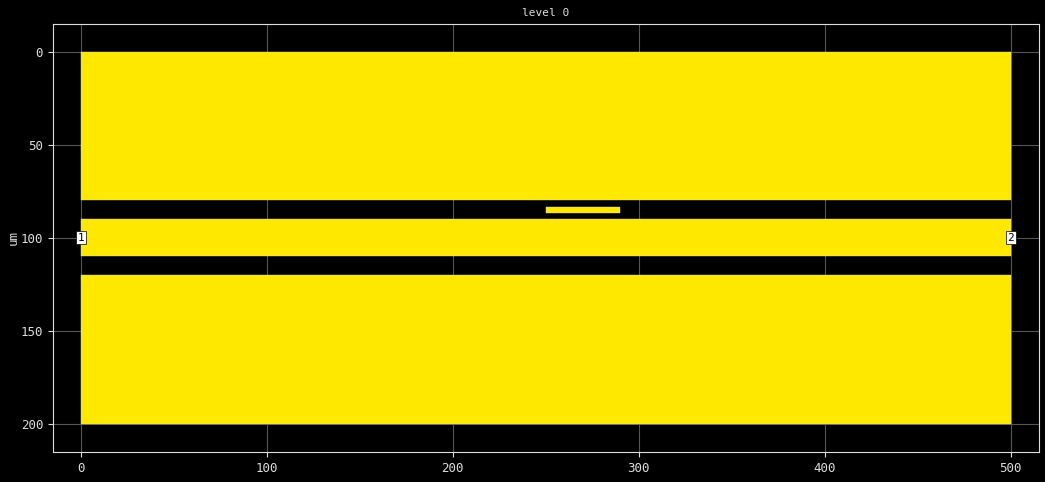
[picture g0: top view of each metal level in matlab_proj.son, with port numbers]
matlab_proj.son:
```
FTYP SONPROJ 13 ! Sonnet Project File
VER 15.52
HEADER
DAT 1/30/2019 22:14:4
BUILT_BY_CREATED Sonnet Matlab Interface v8.0
BUILT_BY_SAVED Sonnet Matlab Interface v8.0
MDATE 1/30/2019 22:14:3
HDATE 1/30/2019 22:14:3
END HEADER
DIM
FREQ GHZ
IND NH
LNG UM
ANG DEG
CON /OH
CAP PF
RES OH
END DIM
FREQ
ABS 1 5
END FREQ
CONTROL
ABS
OPTIONS -d
SPEED 0
CACHE_ABS 1
TARG_ABS 300
Q_ACC N
END CONTROL
GEO
TMET Lossless 0 SUP 0 0 0 0
BMET Lossless 0 SUP 0 0 0 0
MET "Al-supercond" 0 RES 0
BOX 1 500 200 400 400 20 0
      500 1 1 0 0 0 0 "Unnamed" 
      3000 1 1 0 0 0 0 "Unnamed" 
POR1 STD
POLY 10 1
0
1 50 0 0 0 0 100
POR1 STD
POLY 10 1
2
2 50 0 0 0 500 100
NUM 4
0 5 0 N 1 1 1 100 100 0 0 0 Y
0 0
0 80
500 80
500 0
0 0
END
0 5 0 N 10 1 1 100 100 0 0 0 Y
0 90
0 110
500 110
500 90
0 90
END
0 5 0 N 16 1 1 100 100 0 0 0 Y
0 120
0 200
500 200
500 120
0 120
END
0 5 0 N 29 1 1 100 100 0 0 0 Y
250 83.333
250 86.667
290 86.667
290 83.333
250 83.333
END
END GEO
OPT
MAX 100
VARS
END
END OPT
VARSWP
END VARSWP
FILEOUT
CSV D Y S_DATA.csv IC 15 S RI R 50
END FILEOUT
SMDFILES
END SMDFILES
```
